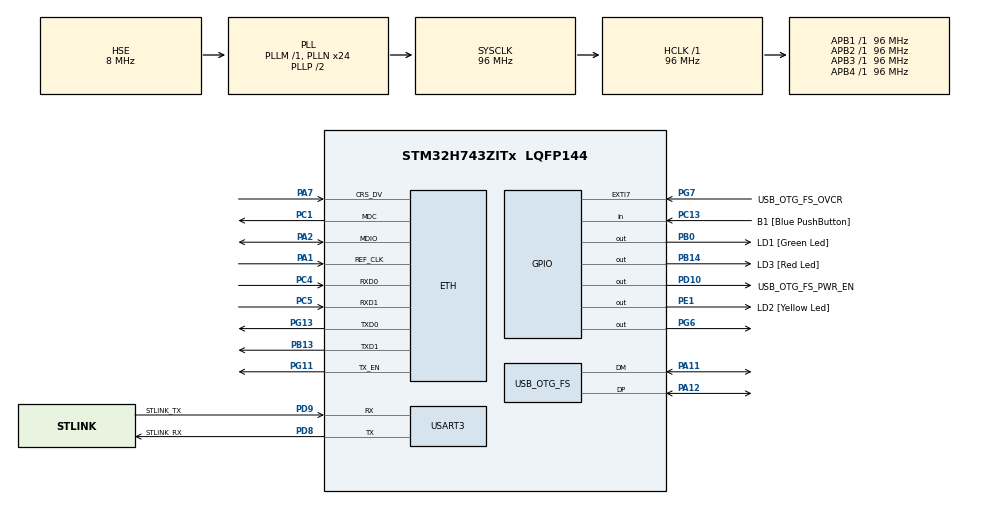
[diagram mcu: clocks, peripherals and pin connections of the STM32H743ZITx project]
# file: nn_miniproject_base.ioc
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ETH.MediaInterface=HAL_ETH_RMII_MODE
Mcu.Family=STM32H7
Mcu.Name=STM32H743ZITx
Mcu.Package=LQFP144
NVIC.OTG_FS_IRQn=true\:0\:0\:false\:false\:true\:true\:true
NVIC.PriorityGroup=NVIC_PRIORITYGROUP_4
PA1.Mode=RMII
PA1.Signal=ETH_REF_CLK
PA11.GPIO_Speed=GPIO_SPEED_FREQ_VERY_HIGH
PA11.Mode=Host_Only
PA11.Signal=USB_OTG_FS_DM
PA12.GPIO_Speed=GPIO_SPEED_FREQ_VERY_HIGH
PA12.Mode=Host_Only
PA12.Signal=USB_OTG_FS_DP
PA2.Mode=RMII
PA2.Signal=ETH_MDIO
PA7.Mode=RMII
PA7.Signal=ETH_CRS_DV
PA8.Signal=USB_OTG_FS_SOF
PA9.Signal=USB_OTG_FS_VBUS
PB0.GPIO_Label=LD1 [Green Led]
PB0.Signal=GPIO_Output
PB13.Mode=RMII
PB13.Signal=ETH_TXD1
PB14.GPIO_Label=LD3 [Red Led]
PB14.Signal=GPIO_Output
PC1.Mode=RMII
PC1.Signal=ETH_MDC
PC13.GPIO_Label=B1 [Blue PushButton]
PC13.Signal=GPIO_Input
PC14-OSC32_IN\ (OSC32_IN).Mode=LSE-External-Oscillator
PC14-OSC32_IN\ (OSC32_IN).Signal=RCC_OSC32_IN
PC15-OSC32_OUT\ (OSC32_OUT).Mode=LSE-External-Oscillator
PC15-OSC32_OUT\ (OSC32_OUT).Signal=RCC_OSC32_OUT
PC4.Mode=RMII
PC4.Signal=ETH_RXD0
PC5.Mode=RMII
PC5.Signal=ETH_RXD1
PD10.GPIO_Label=USB_OTG_FS_PWR_EN
PD10.Signal=GPIO_Output
PD8.GPIO_Label=STLINK_RX
PD8.Mode=Asynchronous
PD8.Signal=USART3_TX
PD9.GPIO_Label=STLINK_TX
PD9.Mode=Asynchronous
PD9.Signal=USART3_RX
PE1.GPIO_Label=LD2 [Yellow Led]
PE1.Signal=GPIO_Output
PG11.Mode=RMII
PG11.Signal=ETH_TX_EN
PG13.Mode=RMII
PG13.Signal=ETH_TXD0
PG6.Signal=GPIO_Output
PG7.GPIO_Label=USB_OTG_FS_OVCR
PG7.Signal=GPXTI7
PH0-OSC_IN\ (PH0).Mode=HSE-External-Clock-Source
PH0-OSC_IN\ (PH0).Signal=RCC_OSC_IN
PH1-OSC_OUT\ (PH1).Signal=RCC_OSC_OUT
ProjectManager.HeapSize=0x2000
ProjectManager.StackSize=0x2000
ProjectManager.TargetToolchain=STM32CubeIDE
RCC.ADCFreq_Value=16125000
RCC.APB1Freq_Value=96000000
RCC.APB2Freq_Value=96000000
RCC.APB3Freq_Value=96000000
RCC.APB4Freq_Value=96000000
RCC.CortexFreq_Value=96000000
RCC.DIVM1=1
RCC.DIVN1=24
RCC.DIVQ1=4
RCC.HCLKFreq_Value=96000000
RCC.HSE_VALUE=8000000
RCC.PLLFRACN=0
RCC.PWR_Regulator_Voltage_Scale=PWR_REGULATOR_VOLTAGE_SCALE2
RCC.SYSCLKFreq_VALUE=96000000
RCC.SYSCLKSource=RCC_SYSCLKSOURCE_PLLCLK
RCC.USART234578CLockSelection=RCC_USART234578CLKSOURCE_HSI
RCC.USBFreq_Value=48000000
USART3.VirtualMode-Asynchronous=VM_ASYNC
USB_HOST.BSP.number=1
USB_HOST.USBH_HandleTypeDef-MSC_FS=hUsbHostFS
USB_HOST.VirtualModeFS=Msc
USB_HOST0.BSP.STBoard=false
USB_HOST0.BSP.api=Unknown
USB_HOST0.BSP.i2caddr=0
USB_HOST0.BSP.instance=PG6
USB_HOST0.BSP.ip=GPIO
USB_HOST0.BSP.mode=Output
USB_HOST0.BSP.name=Drive_VBUS_FS
USB_HOST0.BSP.solution=PG6
USB_OTG_FS.VirtualMode=Host_Only
USB_OTG_FS.phy_itface=HCD_PHY_EMBEDDED
VP_FATFS_VS_USB.Mode=USB
VP_USB_HOST_VS_USB_HOST_MSC_FS.Mode=MSC_FS
board=NUCLEO-H743ZI2

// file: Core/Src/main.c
/* USER CODE BEGIN Header */
/**
  ******************************************************************************
  * @file           : main.c
  * @brief          : Main program body
  ******************************************************************************
  * @attention
  *
  * <h2><center>&copy; Copyright (c) 2021 STMicroelectronics.
  * All rights reserved.</center></h2>
  *
  * This software component is licensed by ST under BSD 3-Clause license,
  * the "License"; You may not use this file except in compliance with the
  * License. You may obtain a copy of the License at:
  *                        opensource.org/licenses/BSD-3-Clause
  *
  ******************************************************************************
  */
/* USER CODE END Header */
#include "main.h"
#include "string.h"
#include "fatfs.h"
#include "usb_host.h"

#if defined ( __ICCARM__ ) /*!< IAR Compiler */

#pragma location=0x30040000
ETH_DMADescTypeDef  DMARxDscrTab[ETH_RX_DESC_CNT]; /* Ethernet Rx DMA Descriptors */
#pragma location=0x30040060
ETH_DMADescTypeDef  DMATxDscrTab[ETH_TX_DESC_CNT]; /* Ethernet Tx DMA Descriptors */
#pragma location=0x30040200
uint8_t Rx_Buff[ETH_RX_DESC_CNT][ETH_MAX_PACKET_SIZE]; /* Ethernet Receive Buffers */

#elif defined ( __CC_ARM )  /* MDK ARM Compiler */

__attribute__((at(0x30040000))) ETH_DMADescTypeDef  DMARxDscrTab[ETH_RX_DESC_CNT]; /* Ethernet Rx DMA Descriptors */
__attribute__((at(0x30040060))) ETH_DMADescTypeDef  DMATxDscrTab[ETH_TX_DESC_CNT]; /* Ethernet Tx DMA Descriptors */
__attribute__((at(0x30040200))) uint8_t Rx_Buff[ETH_RX_DESC_CNT][ETH_MAX_PACKET_SIZE]; /* Ethernet Receive Buffer */

#elif defined ( __GNUC__ ) /* GNU Compiler */

ETH_DMADescTypeDef DMARxDscrTab[ETH_RX_DESC_CNT] __attribute__((section(".RxDecripSection"))); /* Ethernet Rx DMA Descriptors */
ETH_DMADescTypeDef DMATxDscrTab[ETH_TX_DESC_CNT] __attribute__((section(".TxDecripSection")));   /* Ethernet Tx DMA Descriptors */
uint8_t Rx_Buff[ETH_RX_DESC_CNT][ETH_MAX_PACKET_SIZE] __attribute__((section(".RxArraySection"))); /* Ethernet Receive Buffers */

#endif

ETH_TxPacketConfig TxConfig;

ETH_HandleTypeDef heth;

UART_HandleTypeDef huart3;

void SystemClock_Config(void);
static void MX_GPIO_Init(void);
static void MX_ETH_Init(void);
static void MX_USART3_UART_Init(void);
void MX_USB_HOST_Process(void);

/* USER CODE BEGIN 0 */
#include <arm_math.h>
#include <stdio.h>
#define ARM_MATH_CM7
#define __FPU_PRESENT 1

int file_ready = 0;
extern uint8_t rtext[4096];
extern uint8_t name[10];
float * out_img;
float zero_pad_input[30][30] = {0};
/* USER CODE END 0 */

int main(void)
{

  /* MCU Configuration--------------------------------------------------------*/

  /* Reset of all peripherals, Initializes the Flash interface and the Systick. */
  HAL_Init();

  /* Configure the system clock */
  SystemClock_Config();

  /* Initialize all configured peripherals */
  MX_GPIO_Init();
  MX_ETH_Init();
  MX_USART3_UART_Init();
  MX_FATFS_Init();
  MX_USB_HOST_Init();

  /* Infinite loop */
  while (1)
  {
    MX_USB_HOST_Process();

    /* USER CODE BEGIN 3 */
	sprintf(name,"num5.bmp");
    file_ready = 0;
    read_bmp(name);

    if(file_ready == 1){
    	out_img = ProcessBmp(rtext);
	    break;
    }
  }
  //    	zero pad image
  //    	input used as input image

	float input[28][28];
	for(int i = 0; i < 28; i++){
		for(int j = 0; j < 28; j++){
			input[i][j] = out_img[i*28+j];
		}
	}

	//    	zero pad
	float zero_pad_input[30][30] = {0};
	for(int i = 1; i < 29; i++){
		for(int j = 1; j < 29; j++){
			zero_pad_input[i][j] = input[i][j];
		}
	}

	//		CONV2D
	float row1, row2, row3, sum = 0.0;
	float conv_layer[16][28][28];
	int iterator = 0;
	float* bias = read_txt("b1.txt", 16);
	float max;
	float pool_layer[16][14][14];
	float zero_pad_input_1[16][16][16] = {0.0};
	float* w1 = read_txt("w1.txt", 144);
	float filter[16][3][3];
	float* w2 = read_txt("w2.txt", 72);
	float filter_1[16][8][3][3];
	float conv_layer_1[16][8][14][14];
	float pool_layer_1[16][8][7][7];
	float* bias_1 = read_txt("b2.txt", 8);	//placeholder

	for(int i = 0; i < 16; i++){
		for(int j = 0; j < 3; j++){
			for(int k = 0; k < 3; k++){
				filter[i][j][k] = w1[i*16+j*3+k];
			}
		}
	}
	for(int x = 0; x < 16; x++){
		for(int i = 0; i < 8; i++){
			for(int j = 0; j < 3; j++){
				for(int k = 0; k < 3; k++){
					filter_1[x][i][j][k] = w1[x*16+i*8+j*3+k];
				}
			}
		}
	}

	//    		Convolution layer calculation
	for(int z = 0; z < 16; z++){
		for(int i = 1; i < 29; i++){
			for(int j = 1; j < 29; j++){
				row1 = filter[z][0][0] * zero_pad_input[i-1][j-1] + filter[z][0][1] * zero_pad_input[i-1][j] + filter[z][0][2] * zero_pad_input[i-1][j+1];
				row2 = filter[z][1][0] * zero_pad_input[i][j-1] + filter[z][1][1] * zero_pad_input[i][j] + filter[z][1][2] * zero_pad_input[i][j+1];
				row3 = filter[z][2][0] * zero_pad_input[i+1][j-1] + filter[z][2][1] * zero_pad_input[i+1][j] + filter[z][2][2] * zero_pad_input[i+1][j+1];
				sum = row1 + row2 + row3 + bias[z];
				conv_layer[z][i-1][j-1] = sum;
			}
		}

	//    		ReLU Activation
		for(int i = 0; i < 28; i++){
			for(int j = 0; j < 28; j++){
				if (conv_layer[z][i][j] < 0.0){
					conv_layer[z][i][j] = 0.0;
				}
			}
		}

	//    	maxpooling2d

		for(int i = 0; i < 28; i+=2){
			for(int j = 0; j < 28; j+=2){
				max = conv_layer[z][i][j];
				if(conv_layer[z][i][j+1] > max){
					max = conv_layer[z][i][j+1];
				}
				if(conv_layer[z][i+1][j+1] > max){
					max = conv_layer[z][i+1][j+1];
				}
				if(conv_layer[z][i+1][j] > max){
					max = conv_layer[z][i+1][j];
				}
				pool_layer[z][i/2][j/2] = max;
			}
		}

	//    	zero pad 1
		for(int i = 1; i < 15; i++){
			for(int j = 1; j < 15; j++){
				zero_pad_input_1[z][i][j] = pool_layer[z][i][j];
			}
		}
	}

	for(int x = 0; x < 16; x++){
		for(int z = 0; z < 8; z++){
		//    	conv2d_1
			for(int i = 1; i < 15; i++){
				for(int j = 1; j < 15; j++){
					row1 = filter_1[x][z][0][0] * zero_pad_input_1[z][i-1][j-1] + filter_1[x][z][0][1] * zero_pad_input_1[z][i-1][j] + filter_1[x][z][0][2] * zero_pad_input_1[z][i-1][j+1];
					row2 = filter_1[x][z][1][0] * zero_pad_input_1[z][i][j-1] + filter_1[x][z][1][1] * zero_pad_input_1[z][i][j] + filter_1[x][z][1][2] * zero_pad_input_1[z][i][j+1];
					row3 = filter_1[x][z][2][0] * zero_pad_input_1[z][i+1][j-1] + filter_1[x][z][2][1] * zero_pad_input_1[z][i+1][j] + filter_1[x][z][2][2] * zero_pad_input_1[z][i+1][j+1];
					sum = row1 + row2 + row3 + bias_1[z];
					conv_layer_1[x][z][i-1][j-1] = sum;
				}
			}

		//    		ReLU Activation
			for(int i = 0; i < 14; i++){
				for(int j = 0; j < 14; j++){
					if (conv_layer_1[x][z][i][j] < 0.0){
						conv_layer_1[x][z][i][j] = 0.0;
					}
				}
			}

		//		maxpooling_1
			for(int i = 0; i < 14; i+=2){
				for(int j = 0; j < 14; j+=2){
					max = conv_layer_1[x][z][i][j];
					if(conv_layer_1[x][z][i][j+1] > max){
						max = conv_layer_1[x][z][i][j+1];
					}
					if(conv_layer_1[x][z][i+1][j+1] > max){
						max = conv_layer_1[x][z][i+1][j+1];
					}
					if(conv_layer_1[x][z][i+1][j] > max){
						max = conv_layer_1[x][z][i+1][j];
					}
					pool_layer_1[x][z][i/2][j/2] = max;
				}
			}
		}
	}

	//    	flatten
	float flat[16][392];
	int iter = 0;
	for(int x = 0; x < 16; x++){
		for(int i = 0; i < 8; i++){
			for(int j = 0; j < 7; j++){
				for(int k = 0; k < 7; k++){
					flat[x][iter] = pool_layer_1[x][i][j][k];
					iter++;
				}
			}
		}
	}

	//    	dense

	float* weights = read_txt("w3.txt", 3920);
	float w[10][3920];
	float output[10] = {0.0};
	float* b = read_txt("b3.txt", 10);
	float softmax_sum = 0;

	for(int i = 0; i < 10; i++){
		for(int j = 0; j < 392; j++){
			w[i][j] = weights[i*392+j];
		}
	}

	for(int i = 0; i < 10; i++){
		for(int j = 0; j < 392; j++){
			softmax_sum += exp(flat[i][j]*w[i][j]);
		}
	}

	for(int i = 0; i < 10; i++){
		for(int j = 0; j < 392; j++){
			output[i] += exp(flat[i][j]*w[i][j]) / softmax_sum;
		}
		output[i] += b[i];	//final probabilities
	}

	int guess = 0;
	for(int i = 1; i < 10; i++){
		if (output[i] > output[guess])
			guess = i;
	}
	printf("Guess: %d", guess);

	//    	float* zero_pad(float* input, float* image, int size){
	//    		for(int i = 1; i < 29; i++){
	//    		    for(int j = 1; j < 29; j++){
	//    		    	input[i][j] = image[i][j];
	//    		    }
	//    		}
	//    		return input;
	//    	}
	//
	//    	float* flatten(float& input, int width, int height, int depth){
	//        	float flat[392];
	//        	int iter = 0;
	//        	for(int i = 0; i < depth; i++){
	//        		for(int j = 0; j < height; j++){
	//        			for(int k = 0; k < width; k++){
	//        				flat[iter] = input[i][j][k];
	//        				iter++;
	//        			}
	//        		}
	//        	}
	//        	return flat;
	//    	}
	//
	//    	float* conv2d(float* input, int size, int width, int height, int depth){
	//
	//    	}

  while(1);
  /* USER CODE END 3 */
}

void SystemClock_Config(void)
{
  RCC_OscInitTypeDef RCC_OscInitStruct = {0};
  RCC_ClkInitTypeDef RCC_ClkInitStruct = {0};

  /** Supply configuration update enable
  */
  HAL_PWREx_ConfigSupply(PWR_LDO_SUPPLY);
  /** Configure the main internal regulator output voltage
  */
  __HAL_PWR_VOLTAGESCALING_CONFIG(PWR_REGULATOR_VOLTAGE_SCALE2);

  while(!__HAL_PWR_GET_FLAG(PWR_FLAG_VOSRDY)) {}
  /** Initializes the RCC Oscillators according to the specified parameters
  * in the RCC_OscInitTypeDef structure.
  */
  RCC_OscInitStruct.OscillatorType = RCC_OSCILLATORTYPE_HSI|RCC_OSCILLATORTYPE_HSE;
  RCC_OscInitStruct.HSEState = RCC_HSE_BYPASS;
  RCC_OscInitStruct.HSIState = RCC_HSI_DIV1;
  RCC_OscInitStruct.HSICalibrationValue = RCC_HSICALIBRATION_DEFAULT;
  RCC_OscInitStruct.PLL.PLLState = RCC_PLL_ON;
  RCC_OscInitStruct.PLL.PLLSource = RCC_PLLSOURCE_HSE;
  RCC_OscInitStruct.PLL.PLLM = 1;
  RCC_OscInitStruct.PLL.PLLN = 24;
  RCC_OscInitStruct.PLL.PLLP = 2;
  RCC_OscInitStruct.PLL.PLLQ = 4;
  RCC_OscInitStruct.PLL.PLLR = 2;
  RCC_OscInitStruct.PLL.PLLRGE = RCC_PLL1VCIRANGE_3;
  RCC_OscInitStruct.PLL.PLLVCOSEL = RCC_PLL1VCOWIDE;
  RCC_OscInitStruct.PLL.PLLFRACN = 0;
  if (HAL_RCC_OscConfig(&RCC_OscInitStruct) != HAL_OK)
  {
    Error_Handler();
  }
  /** Initializes the CPU, AHB and APB buses clocks
  */
  RCC_ClkInitStruct.ClockType = RCC_CLOCKTYPE_HCLK|RCC_CLOCKTYPE_SYSCLK
                              |RCC_CLOCKTYPE_PCLK1|RCC_CLOCKTYPE_PCLK2
                              |RCC_CLOCKTYPE_D3PCLK1|RCC_CLOCKTYPE_D1PCLK1;
  RCC_ClkInitStruct.SYSCLKSource = RCC_SYSCLKSOURCE_PLLCLK;
  RCC_ClkInitStruct.SYSCLKDivider = RCC_SYSCLK_DIV1;
  RCC_ClkInitStruct.AHBCLKDivider = RCC_HCLK_DIV1;
  RCC_ClkInitStruct.APB3CLKDivider = RCC_APB3_DIV1;
  RCC_ClkInitStruct.APB1CLKDivider = RCC_APB1_DIV1;
  RCC_ClkInitStruct.APB2CLKDivider = RCC_APB2_DIV1;
  RCC_ClkInitStruct.APB4CLKDivider = RCC_APB4_DIV1;

  if (HAL_RCC_ClockConfig(&RCC_ClkInitStruct, FLASH_LATENCY_1) != HAL_OK)
  {
    Error_Handler();
  }
}

static void MX_ETH_Init(void)
{

   static uint8_t MACAddr[6];

  heth.Instance = ETH;
  MACAddr[0] = 0x00;
  MACAddr[1] = 0x80;
  MACAddr[2] = 0xE1;
  MACAddr[3] = 0x00;
  MACAddr[4] = 0x00;
  MACAddr[5] = 0x00;
  heth.Init.MACAddr = &MACAddr[0];
  heth.Init.MediaInterface = HAL_ETH_RMII_MODE;
  heth.Init.TxDesc = DMATxDscrTab;
  heth.Init.RxDesc = DMARxDscrTab;
  heth.Init.RxBuffLen = 1524;

  if (HAL_ETH_Init(&heth) != HAL_OK)
  {
    Error_Handler();
  }

  memset(&TxConfig, 0 , sizeof(ETH_TxPacketConfig));
  TxConfig.Attributes = ETH_TX_PACKETS_FEATURES_CSUM | ETH_TX_PACKETS_FEATURES_CRCPAD;
  TxConfig.ChecksumCtrl = ETH_CHECKSUM_IPHDR_PAYLOAD_INSERT_PHDR_CALC;
  TxConfig.CRCPadCtrl = ETH_CRC_PAD_INSERT;

}

static void MX_USART3_UART_Init(void)
{

  huart3.Instance = USART3;
  huart3.Init.BaudRate = 115200;
  huart3.Init.WordLength = UART_WORDLENGTH_8B;
  huart3.Init.StopBits = UART_STOPBITS_1;
  huart3.Init.Parity = UART_PARITY_NONE;
  huart3.Init.Mode = UART_MODE_TX_RX;
  huart3.Init.HwFlowCtl = UART_HWCONTROL_NONE;
  huart3.Init.OverSampling = UART_OVERSAMPLING_16;
  huart3.Init.OneBitSampling = UART_ONE_BIT_SAMPLE_DISABLE;
  huart3.Init.ClockPrescaler = UART_PRESCALER_DIV1;
  huart3.AdvancedInit.AdvFeatureInit = UART_ADVFEATURE_NO_INIT;
  if (HAL_UART_Init(&huart3) != HAL_OK)
  {
    Error_Handler();
  }
  if (HAL_UARTEx_SetTxFifoThreshold(&huart3, UART_TXFIFO_THRESHOLD_1_8) != HAL_OK)
  {
    Error_Handler();
  }
  if (HAL_UARTEx_SetRxFifoThreshold(&huart3, UART_RXFIFO_THRESHOLD_1_8) != HAL_OK)
  {
    Error_Handler();
  }
  if (HAL_UARTEx_DisableFifoMode(&huart3) != HAL_OK)
  {
    Error_Handler();
  }

}

static void MX_GPIO_Init(void)
{
  GPIO_InitTypeDef GPIO_InitStruct = {0};

  /* GPIO Ports Clock Enable */
  __HAL_RCC_GPIOC_CLK_ENABLE();
  __HAL_RCC_GPIOH_CLK_ENABLE();
  __HAL_RCC_GPIOA_CLK_ENABLE();
  __HAL_RCC_GPIOB_CLK_ENABLE();
  __HAL_RCC_GPIOD_CLK_ENABLE();
  __HAL_RCC_GPIOG_CLK_ENABLE();
  __HAL_RCC_GPIOE_CLK_ENABLE();

  /*Configure GPIO pin Output Level */
  HAL_GPIO_WritePin(GPIOB, LD1_Pin|LD3_Pin, GPIO_PIN_RESET);

  /*Configure GPIO pin Output Level */
  HAL_GPIO_WritePin(USB_OTG_FS_PWR_EN_GPIO_Port, USB_OTG_FS_PWR_EN_Pin, GPIO_PIN_RESET);

  /*Configure GPIO pin Output Level */
  HAL_GPIO_WritePin(GPIOG, GPIO_PIN_6, GPIO_PIN_RESET);

  /*Configure GPIO pin Output Level */
  HAL_GPIO_WritePin(LD2_GPIO_Port, LD2_Pin, GPIO_PIN_RESET);

  /*Configure GPIO pin : B1_Pin */
  GPIO_InitStruct.Pin = B1_Pin;
  GPIO_InitStruct.Mode = GPIO_MODE_INPUT;
  GPIO_InitStruct.Pull = GPIO_NOPULL;
  HAL_GPIO_Init(B1_GPIO_Port, &GPIO_InitStruct);

  /*Configure GPIO pins : LD1_Pin LD3_Pin */
  GPIO_InitStruct.Pin = LD1_Pin|LD3_Pin;
  GPIO_InitStruct.Mode = GPIO_MODE_OUTPUT_PP;
  GPIO_InitStruct.Pull = GPIO_NOPULL;
  GPIO_InitStruct.Speed = GPIO_SPEED_FREQ_LOW;
  HAL_GPIO_Init(GPIOB, &GPIO_InitStruct);

  /*Configure GPIO pin : USB_OTG_FS_PWR_EN_Pin */
  GPIO_InitStruct.Pin = USB_OTG_FS_PWR_EN_Pin;
  GPIO_InitStruct.Mode = GPIO_MODE_OUTPUT_PP;
  GPIO_InitStruct.Pull = GPIO_NOPULL;
  GPIO_InitStruct.Speed = GPIO_SPEED_FREQ_LOW;
  HAL_GPIO_Init(USB_OTG_FS_PWR_EN_GPIO_Port, &GPIO_InitStruct);

  /*Configure GPIO pin : PG6 */
  GPIO_InitStruct.Pin = GPIO_PIN_6;
  GPIO_InitStruct.Mode = GPIO_MODE_OUTPUT_PP;
  GPIO_InitStruct.Pull = GPIO_NOPULL;
  GPIO_InitStruct.Speed = GPIO_SPEED_FREQ_LOW;
  HAL_GPIO_Init(GPIOG, &GPIO_InitStruct);

  /*Configure GPIO pin : USB_OTG_FS_OVCR_Pin */
  GPIO_InitStruct.Pin = USB_OTG_FS_OVCR_Pin;
  GPIO_InitStruct.Mode = GPIO_MODE_IT_RISING;
  GPIO_InitStruct.Pull = GPIO_NOPULL;
  HAL_GPIO_Init(USB_OTG_FS_OVCR_GPIO_Port, &GPIO_InitStruct);

  /*Configure GPIO pin : LD2_Pin */
  GPIO_InitStruct.Pin = LD2_Pin;
  GPIO_InitStruct.Mode = GPIO_MODE_OUTPUT_PP;
  GPIO_InitStruct.Pull = GPIO_NOPULL;
  GPIO_InitStruct.Speed = GPIO_SPEED_FREQ_LOW;
  HAL_GPIO_Init(LD2_GPIO_Port, &GPIO_InitStruct);

}

void Error_Handler(void)
{
  /* USER CODE BEGIN Error_Handler_Debug */
  /* User can add his own implementation to report the HAL error return state */
  HAL_GPIO_WritePin(GPIOB, LD3_Pin, GPIO_PIN_SET);
  __disable_irq();
  while (1)
  {
  }
  /* USER CODE END Error_Handler_Debug */
}

/************************ (C) COPYRIGHT STMicroelectronics *****END OF FILE****/
